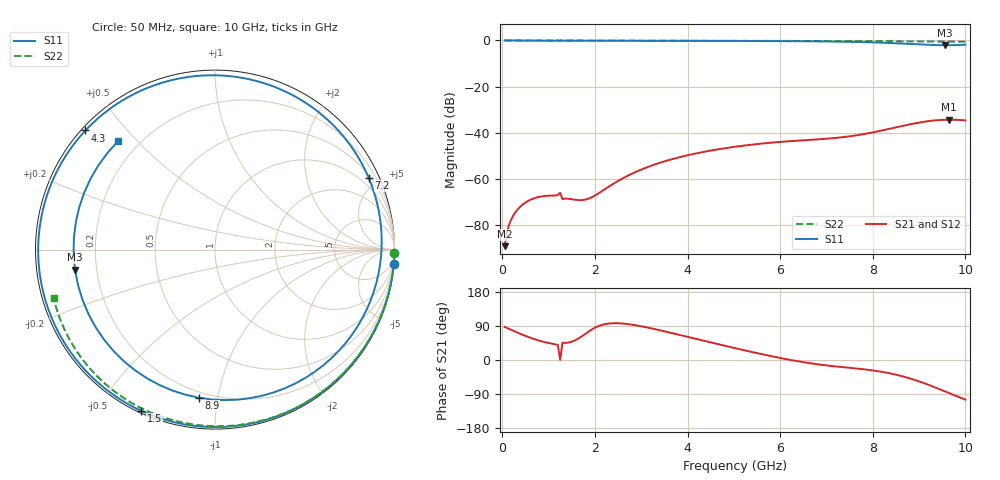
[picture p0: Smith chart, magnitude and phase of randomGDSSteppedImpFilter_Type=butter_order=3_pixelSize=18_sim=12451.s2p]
! freq	dB(S11)	phase(S11)	dB(S12)	phase(S12)
!  dB(S21)	phase(S21)	dB(S22)	phase(S22)
!S-par simulation data
#  GHz  S  DB  R 50
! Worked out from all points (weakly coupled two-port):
!   200 points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, 50 MHz to 10 GHz, reference 50 ohm
!   highest |S21| = -34.30 dB at 9.65 GHz (marker M1); lowest = -89.0 dB at 50 MHz (marker M2)
!   lowest |S11| = -2.1 dB at 9.55 GHz (marker M3), VSWR 8.43, Z = 5.96 - j3.54 ohm
!   |S11| at or under -10 dB: nowhere
!   |S22| runs from -0.5 to 0.0 dB; largest |S21 - S12| = 0
!   S11 on the Smith chart (normalised r, x): 50 MHz: 0, -25; 1.5 GHz: 0.01, -0.64; 4.3 GHz: 0.01, +0.39; 7.2 GHz: 0.59, +4.42; 8.9 GHz: 0.17, -0.88; 10 GHz: 0.13, +0.44
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0.05  -0.00 -4.7  -89.04 87.3  -89.04 87.3  -0.00 -1.0
0.15  -0.02 -13.9  -79.59 81.8  -79.59 81.8  -0.00 -2.9
0.4  -0.05 -36.3  -71.69 68.5  -71.69 68.5  -0.01 -7.6
0.75  -0.08 -65.1  -67.93 52.8  -67.93 52.8  -0.02 -14.1
1.25  -0.10 -99.9  -65.93 0.2  -65.93 0.2  -0.03 -23.4
1.3  -0.10 -103.0  -68.72 45.8  -68.72 45.8  -0.03 -24.3
1.5  -0.11 -114.6  -68.77 48.5  -68.77 48.5  -0.04 -28.0
1.75  -0.11 -127.7  -69.03 65.1  -69.03 65.1  -0.04 -32.6
2.5  -0.12 -160.8  -60.81 97.0  -60.81 97.0  -0.06 -46.1
3.4  -0.14 166.9  -52.97 78.6  -52.97 78.6  -0.08 -61.7
4.3  -0.17 137.4  -48.42 52.2  -48.42 52.2  -0.11 -76.8
5.05  -0.21 112.5  -45.94 30.6  -45.94 30.6  -0.14 -88.9
5.9  -0.27 82.0  -44.08 7.8  -44.08 7.8  -0.18 -102.2
6.7  -0.38 49.0  -42.96 -9.5  -42.96 -9.5  -0.22 -114.3
7.2  -0.49 25.1  -42.18 -17.0  -42.18 -17.0  -0.26 -121.7
7.8  -0.72 -8.7  -40.54 -24.4  -40.54 -24.4  -0.31 -130.6
8.35  -1.08 -47.1  -38.29 -34.7  -38.29 -34.7  -0.36 -138.7
8.9  -1.62 -96.3  -35.92 -52.3  -35.92 -52.3  -0.41 -146.8
9.2  -1.91 -129.0  -34.93 -65.3  -34.93 -65.3  -0.45 -151.2
9.55  -2.07 -171.8  -34.34 -82.5  -34.34 -82.5  -0.49 -156.4
9.65  -2.06 175.5  -34.30 -87.5  -34.30 -87.5  -0.50 -157.9
10  -1.83 131.9  -34.59 -104.3  -34.59 -104.3  -0.55 -163.3
